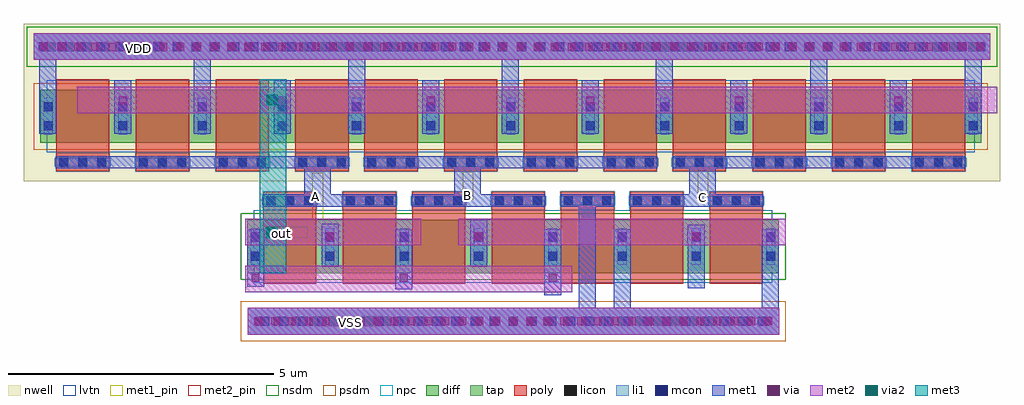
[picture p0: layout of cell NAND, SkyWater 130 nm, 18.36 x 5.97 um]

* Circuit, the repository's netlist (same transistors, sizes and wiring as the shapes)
** sch_path: /foss/designs/BGR_NSL_FTK/NAND.sch
.subckt NAND vdd vss A C B out
*.iopin vdd
*.iopin vss
*.ipin A
*.ipin C
*.ipin B
*.opin out
XM6 out A net1 vss sky130_fd_pr__nfet_01v8_lvt L=1 W=2 nf=2 ad=0.29 as=0.58 pd=2.58 ps=5.16 nrd=0.145 nrs=0.145 sa=0 sb=0 sd=0
+ mult=1
XM1 out B vdd vdd sky130_fd_pr__pfet_01v8_lvt L=1 W=4 nf=4 ad=0.58 as=0.87 pd=5.16 ps=7.74 nrd=0.0725 nrs=0.0725 sa=0 sb=0 sd=0
+ mult=1
XM2 out A vdd vdd sky130_fd_pr__pfet_01v8_lvt L=1 W=4 nf=4 ad=0.58 as=0.87 pd=5.16 ps=7.74 nrd=0.0725 nrs=0.0725 sa=0 sb=0 sd=0
+ mult=1
XM3 net1 B net2 vss sky130_fd_pr__nfet_01v8_lvt L=1 W=2 nf=2 ad=0.29 as=0.58 pd=2.58 ps=5.16 nrd=0.145 nrs=0.145 sa=0 sb=0 sd=0
+ mult=1
XM4 out C vdd vdd sky130_fd_pr__pfet_01v8_lvt L=1 W=4 nf=4 ad=0.58 as=0.87 pd=5.16 ps=7.74 nrd=0.0725 nrs=0.0725 sa=0 sb=0 sd=0
+ mult=1
XM5 net2 C vss vss sky130_fd_pr__nfet_01v8_lvt L=1 W=2 nf=2 ad=0.29 as=0.58 pd=2.58 ps=5.16 nrd=0.145 nrs=0.145 sa=0 sb=0 sd=0
+ mult=1
XM7 net1 vss vss vss sky130_fd_pr__nfet_01v8_lvt L=1 W=1 nf=1 ad=0.29 as=0.29 pd=2.58 ps=2.58 nrd=0.29 nrs=0.29 sa=0 sb=0 sd=0
+ mult=1
.ends
.end

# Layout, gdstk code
import gdstk
lib = gdstk.Library(unit=1e-6, precision=5e-09)
def R(c, l, rs):  # rectangles x0, y0, x1, y1
    for r in rs: c.add(gdstk.rectangle(r[:2], r[2:], *l))
def A(c, l, x, y, w, h, nx, ny, dx, dy):  # array of equal rectangles
    R(c, l, [(x+i*dx, y+j*dy, x+i*dx+w, y+j*dy+h) for i in range(nx) for j in range(ny)])
nwell = (64, 20)
diff = (65, 20)
tap = (65, 44)
poly = (66, 20)
licon = (66, 44)
li1 = (67, 20)
mcon = (67, 44)
met1_pin = (68, 16)
met1 = (68, 20)
via = (68, 44)
met2_pin = (69, 16)
met2 = (69, 20)
via2 = (69, 44)
met3 = (70, 20)
nsdm = (93, 44)
psdm = (94, 20)
npc = (95, 20)
lvtn = (125, 44)

pfet = lib.new_cell('pfet')
R(pfet, nwell, [(-0.305,-0.72,6.405,1.38)])
R(pfet, diff, [(0,0,6.1,1)])
A(pfet, poly, 0.3, -0.53, 1, 0.33, 4, 1, 1.5, 0)
A(pfet, poly, 0.3, -0.2, 1, 1.4, 4, 1, 1.5, 0)
A(pfet, licon, 0.355, -0.45, 0.17, 0.17, 3, 1, 0.36, 0)
A(pfet, licon, 1.855, -0.45, 0.17, 0.17, 3, 1, 0.36, 0)
A(pfet, licon, 3.355, -0.45, 0.17, 0.17, 3, 1, 0.36, 0)
A(pfet, licon, 4.855, -0.45, 0.17, 0.17, 3, 1, 0.36, 0)
A(pfet, licon, 1.465, 0.235, 0.17, 0.17, 3, 2, 1.5, 0.36)
R(pfet, licon, [(0.065,0.235,0.235,0.405), (5.865,0.235,6.035,0.405), (0.065,0.595,0.235,0.765), (5.865,0.595,6.035,0.765)])
A(pfet, li1, 0.275, -0.45, 1.05, 0.17, 4, 1, 1.5, 0)
A(pfet, li1, 1.465, 0.155, 0.17, 0.69, 3, 1, 1.5, 0)
R(pfet, li1, [(0.065,0.155,0.235,0.845), (5.865,0.155,6.035,0.845)])
A(pfet, mcon, 0.355, -0.45, 0.17, 0.17, 3, 1, 0.36, 0)
A(pfet, mcon, 1.855, -0.45, 0.17, 0.17, 3, 1, 0.36, 0)
A(pfet, mcon, 3.355, -0.45, 0.17, 0.17, 3, 1, 0.36, 0)
A(pfet, mcon, 4.855, -0.45, 0.17, 0.17, 3, 1, 0.36, 0)
A(pfet, mcon, 1.465, 0.235, 0.17, 0.17, 3, 2, 1.5, 0.36)
R(pfet, mcon, [(0.065,0.235,0.235,0.405), (5.865,0.235,6.035,0.405), (0.065,0.595,0.235,0.765), (5.865,0.595,6.035,0.765)])
A(pfet, met1, 0.295, -0.48, 1.01, 0.23, 4, 1, 1.5, 0)
A(pfet, met1, 1.435, 0.175, 0.23, 0.65, 3, 1, 1.5, 0)
R(pfet, met1, [(0.035,0.175,0.265,0.825), (5.835,0.175,6.065,0.825)])
R(pfet, psdm, [(-0.125,-0.125,6.225,1.125)])
A(pfet, npc, 0.29, -0.54, 1.02, 0.35, 4, 1, 1.5, 0)
R(pfet, lvtn, [(0.12,-0.18,5.98,1.18)])

vias_gen = lib.new_cell('vias_gen')
R(vias_gen, nwell, [(-0.18,-0.18,18.18,0.68)])
R(vias_gen, tap, [(0,0,18,0.5)])
A(vias_gen, licon, 0.245, 0.165, 0.17, 0.17, 52, 1, 0.34, 0)
R(vias_gen, li1, [(0,0,18,0.5)])
A(vias_gen, mcon, 0.095, 0.165, 0.17, 0.17, 50, 1, 0.36, 0)
R(vias_gen, met1, [(0,0,18,0.5)])
A(vias_gen, via, 0.125, 0.175, 0.15, 0.15, 56, 1, 0.32, 0)
R(vias_gen, met2, [(0,0,18,0.5)])
R(vias_gen, nsdm, [(-0.125,-0.125,18.125,0.625)])

nfet_1 = lib.new_cell('nfet$1')
R(nfet_1, diff, [(0,0,1.6,1)])
R(nfet_1, poly, [(0.3,-0.2,1.3,1.2), (0.3,1.2,1.3,1.53)])
A(nfet_1, licon, 0.355, 1.28, 0.17, 0.17, 3, 1, 0.36, 0)
R(nfet_1, licon, [(0.065,0.235,0.235,0.405), (1.365,0.235,1.535,0.405), (0.065,0.595,0.235,0.765), (1.365,0.595,1.535,0.765)])
R(nfet_1, li1, [(0.065,0.155,0.235,0.845), (1.365,0.155,1.535,0.845), (0.275,1.28,1.325,1.45)])
A(nfet_1, mcon, 0.355, 1.28, 0.17, 0.17, 3, 1, 0.36, 0)
R(nfet_1, mcon, [(0.065,0.235,0.235,0.405), (1.365,0.235,1.535,0.405), (0.065,0.595,0.235,0.765), (1.365,0.595,1.535,0.765)])
R(nfet_1, met1, [(0.035,0.175,0.265,0.825), (1.335,0.175,1.565,0.825), (0.295,1.25,1.305,1.48)])
R(nfet_1, nsdm, [(-0.125,-0.125,1.725,1.125)])
R(nfet_1, npc, [(0.29,1.19,1.31,1.54)])
R(nfet_1, lvtn, [(0.12,-0.18,1.48,1.18)])

nfet = lib.new_cell('nfet')
R(nfet, diff, [(0,0,3.1,1)])
R(nfet, poly, [(0.3,-0.2,1.3,1.2), (1.8,-0.2,2.8,1.2), (0.3,1.2,1.3,1.53), (1.8,1.2,2.8,1.53)])
A(nfet, licon, 0.065, 0.235, 0.17, 0.17, 3, 2, 1.4, 0.36)
A(nfet, licon, 0.355, 1.28, 0.17, 0.17, 3, 1, 0.36, 0)
A(nfet, licon, 1.855, 1.28, 0.17, 0.17, 3, 1, 0.36, 0)
A(nfet, li1, 0.065, 0.155, 0.17, 0.69, 3, 1, 1.4, 0)
R(nfet, li1, [(0.275,1.28,1.325,1.45), (1.775,1.28,2.825,1.45)])
A(nfet, mcon, 0.065, 0.235, 0.17, 0.17, 3, 2, 1.4, 0.36)
A(nfet, mcon, 0.355, 1.28, 0.17, 0.17, 3, 1, 0.36, 0)
A(nfet, mcon, 1.855, 1.28, 0.17, 0.17, 3, 1, 0.36, 0)
A(nfet, met1, 0.035, 0.175, 0.23, 0.65, 3, 1, 1.4, 0)
R(nfet, met1, [(0.295,1.25,1.305,1.48), (1.795,1.25,2.805,1.48)])
R(nfet, nsdm, [(-0.125,-0.125,3.225,1.125)])
R(nfet, npc, [(0.29,1.19,1.31,1.54), (1.79,1.19,2.81,1.54)])
R(nfet, lvtn, [(0.12,-0.18,2.98,1.18)])

vias_gen_1 = lib.new_cell('vias_gen$1')
R(vias_gen_1, tap, [(0,0,10,0.5)])
A(vias_gen_1, licon, 0.155, 0.165, 0.17, 0.17, 29, 1, 0.34, 0)
R(vias_gen_1, li1, [(0,0,10,0.5)])
A(vias_gen_1, mcon, 0.235, 0.165, 0.17, 0.17, 27, 1, 0.36, 0)
R(vias_gen_1, met1, [(0,0,10,0.5)])
A(vias_gen_1, via, 0.125, 0.175, 0.15, 0.15, 31, 1, 0.32, 0)
R(vias_gen_1, met2, [(0,0,10,0.5)])
R(vias_gen_1, psdm, [(-0.125,-0.125,10.125,0.625)])

vias_gen_2 = lib.new_cell('vias_gen$2')
R(vias_gen_2, met1, [(0,0,0.32,0.26)])
R(vias_gen_2, via, [(0.085,0.055,0.235,0.205)])
R(vias_gen_2, met2, [(0,0,0.32,0.26)])

vias_gen_4 = lib.new_cell('vias_gen$4')
R(vias_gen_4, met2, [(0,0,0.37,0.33)])
R(vias_gen_4, via2, [(0.085,0.065,0.285,0.265)])
R(vias_gen_4, met3, [(0,0,0.37,0.33)])

nand = lib.new_cell('NAND')
R(nand, nwell, [(18.31,3.01,18.36,5.14)])
nand.add(gdstk.FlexPath([(4.16,1.17),(10.31,1.17)], 0.5, ends="flush", simple_path=True, layer=69, datatype=20))  # met2
nand.add(gdstk.FlexPath([(4.16,2.05),(7.47,2.05)], 0.5, ends="flush", simple_path=True, layer=69, datatype=20))  # met2
nand.add(gdstk.FlexPath([(8.17,2.05),(14.325,2.05)], 0.5, ends="flush", simple_path=True, layer=69, datatype=20))  # met2
nand.add(gdstk.FlexPath([(1.005,4.54),(18.31,4.54)], 0.5, ends="flush", simple_path=True, layer=69, datatype=20))  # met2
nand.add(gdstk.FlexPath([(4.685,1.28),(4.685,4.93)], 0.5, ends="flush", simple_path=True, layer=70, datatype=20))  # met3
nand.add(gdstk.FlexPath([(4.855,3.905),(4.855,4.91)], 0.32, ends="flush", simple_path=True, layer=68, datatype=20))  # met1
nand.add(gdstk.FlexPath([(6.255,3.905),(6.255,5.76)], 0.32, ends="flush", simple_path=True, layer=68, datatype=20))  # met1
nand.add(gdstk.FlexPath([(3.355,3.905),(3.355,5.76)], 0.32, ends="flush", simple_path=True, layer=68, datatype=20))  # met1
nand.add(gdstk.FlexPath([(0.445,3.905),(0.445,5.76)], 0.32, ends="flush", simple_path=True, layer=68, datatype=20))  # met1
nand.add(gdstk.FlexPath([(9.145,3.905),(9.145,5.76)], 0.32, ends="flush", simple_path=True, layer=68, datatype=20))  # met1
nand.add(gdstk.FlexPath([(12.045,3.9),(12.045,5.755)], 0.32, ends="flush", simple_path=True, layer=68, datatype=20))  # met1
nand.add(gdstk.FlexPath([(14.955,3.9),(14.955,5.755)], 0.32, ends="flush", simple_path=True, layer=68, datatype=20))  # met1
nand.add(gdstk.FlexPath([(17.855,3.9),(17.855,5.755)], 0.32, ends="flush", simple_path=True, layer=68, datatype=20))  # met1
nand.add(gdstk.FlexPath([(1.855,3.905),(1.855,4.91)], 0.32, ends="flush", simple_path=True, layer=68, datatype=20))  # met1
nand.add(gdstk.FlexPath([(7.655,3.905),(7.655,4.91)], 0.32, ends="flush", simple_path=True, layer=68, datatype=20))  # met1
nand.add(gdstk.FlexPath([(10.655,3.905),(10.655,4.91)], 0.32, ends="flush", simple_path=True, layer=68, datatype=20))  # met1
nand.add(gdstk.FlexPath([(13.445,3.905),(13.445,4.91)], 0.32, ends="flush", simple_path=True, layer=68, datatype=20))  # met1
nand.add(gdstk.FlexPath([(16.445,3.905),(16.445,4.91)], 0.32, ends="flush", simple_path=True, layer=68, datatype=20))  # met1
nand.add(gdstk.FlexPath([(1.525,3.365),(2.33,3.365)], 0.23, ends="flush", simple_path=True, layer=68, datatype=20))  # met1
nand.add(gdstk.FlexPath([(2.925,3.365),(3.73,3.365)], 0.23, ends="flush", simple_path=True, layer=68, datatype=20))  # met1
nand.add(gdstk.FlexPath([(4.445,3.365),(5.25,3.365)], 0.23, ends="flush", simple_path=True, layer=68, datatype=20))  # met1
nand.add(gdstk.FlexPath([(7.29,3.365),(8.095,3.365)], 0.23, ends="flush", simple_path=True, layer=68, datatype=20))  # met1
nand.add(gdstk.FlexPath([(8.69,3.365),(9.495,3.365)], 0.23, ends="flush", simple_path=True, layer=68, datatype=20))  # met1
nand.add(gdstk.FlexPath([(10.21,3.365),(11.015,3.365)], 0.23, ends="flush", simple_path=True, layer=68, datatype=20))  # met1
nand.add(gdstk.FlexPath([(13.15,3.365),(13.955,3.365)], 0.23, ends="flush", simple_path=True, layer=68, datatype=20))  # met1
nand.add(gdstk.FlexPath([(14.55,3.365),(15.355,3.365)], 0.23, ends="flush", simple_path=True, layer=68, datatype=20))  # met1
nand.add(gdstk.FlexPath([(16.07,3.365),(16.875,3.365)], 0.23, ends="flush", simple_path=True, layer=68, datatype=20))  # met1
nand.add(gdstk.FlexPath([(10.595,0.52),(10.595,2.76)], 0.32, ends="flush", simple_path=True, layer=68, datatype=20))  # met1
nand.add(gdstk.FlexPath([(5.435,2.645),(6.24,2.645)], 0.23, ends="flush", simple_path=True, layer=68, datatype=20))  # met1
nand.add(gdstk.FlexPath([(8.21,2.645),(9.015,2.645)], 0.23, ends="flush", simple_path=True, layer=68, datatype=20))  # met1
nand.add(gdstk.FlexPath([(12.3,2.645),(13.105,2.645)], 0.23, ends="flush", simple_path=True, layer=68, datatype=20))  # met1
nand.add(gdstk.FlexPath([(12.645,1),(12.645,2.19)], 0.32, ends="flush", simple_path=True, layer=68, datatype=20))  # met1
nand.add(gdstk.FlexPath([(9.95,2.105),(9.95,0.86)], 0.32, ends="flush", simple_path=True, layer=68, datatype=20))  # met1
nand.add(gdstk.FlexPath([(8.55,1.4),(8.55,2.28)], 0.32, ends="flush", simple_path=True, layer=68, datatype=20))  # met1
nand.add(gdstk.FlexPath([(7.145,2.105),(7.145,0.98)], 0.32, ends="flush", simple_path=True, layer=68, datatype=20))  # met1
nand.add(gdstk.FlexPath([(4.355,2.105),(4.355,1.02)], 0.32, ends="flush", simple_path=True, layer=68, datatype=20))  # met1
nand.add(gdstk.FlexPath([(11.25,2.105),(11.25,0.17)], 0.32, ends="flush", simple_path=True, layer=68, datatype=20))  # met1
nand.add(gdstk.FlexPath([(14.04,0.255),(14.04,2.105)], 0.32, ends="flush", simple_path=True, layer=68, datatype=20))  # met1
nand.add(gdstk.FlexPath([(5.76,1.4),(5.76,2.21)], 0.32, ends="flush", simple_path=True, layer=68, datatype=20))  # met1
nand.add(gdstk.FlexPath([(5.525,2.53),(5.525,3.45)], 0.5, ends="flush", simple_path=True, layer=68, datatype=20))  # met1
nand.add(gdstk.FlexPath([(8.345,2.54),(8.345,3.45)], 0.5, ends="flush", simple_path=True, layer=68, datatype=20))  # met1
nand.add(gdstk.FlexPath([(12.765,2.57),(12.765,3.45)], 0.5, ends="flush", simple_path=True, layer=68, datatype=20))  # met1
nand.add(gdstk.FlexPath([(8.35,3.19),(8.35,2.66)], 0.2, ends="flush", simple_path=True, layer=68, datatype=16))  # met1_pin
nand.add(gdstk.FlexPath([(12.77,3.22),(12.77,2.72)], 0.2, ends="flush", simple_path=True, layer=68, datatype=16))  # met1_pin
nand.add(gdstk.FlexPath([(1.525,5.54),(2.865,5.54)], 0.2, ends="flush", simple_path=True, layer=68, datatype=16))  # met1_pin
nand.add(gdstk.FlexPath([(5.52,0.375),(6.77,0.375)], 0.2, ends="flush", simple_path=True, layer=68, datatype=16))  # met1_pin
nand.add(gdstk.FlexPath([(5.525,3.17),(5.525,2.29),(5.525,2.29)], 0.2, ends="flush", simple_path=True, layer=68, datatype=16))  # met1_pin
nand.add(gdstk.FlexPath([(4.5,2.05),(5.335,2.05)], 0.2, ends="flush", simple_path=True, layer=69, datatype=16))  # met2_pin
nand.add(gdstk.Reference(pfet, (0.305,3.73)))
nand.add(gdstk.Reference(pfet, (6.105,3.73)))
nand.add(gdstk.Reference(pfet, (11.905,3.73)))
nand.add(gdstk.Reference(vias_gen, (0.18,5.29)))
nand.add(gdstk.Reference(nfet_1, (9.8,1.28)))
nand.add(gdstk.Reference(nfet, (11.1,1.28)))
nand.add(gdstk.Reference(nfet, (7,1.28)))
nand.add(gdstk.Reference(nfet, (4.2,1.28)))
nand.add(gdstk.Reference(vias_gen_1, (4.205,0.125)))
nand.add(gdstk.Reference(vias_gen_2, (4.195,1.06)))
nand.add(gdstk.Reference(vias_gen_2, (6.985,1.06)))
nand.add(gdstk.Reference(vias_gen_2, (5.6,1.84)))
nand.add(gdstk.Reference(vias_gen_2, (9.79,1.06)))
nand.add(gdstk.Reference(vias_gen_2, (8.39,1.84)))
nand.add(gdstk.Reference(vias_gen_2, (12.48,1.84)))
nand.add(gdstk.Reference(vias_gen_2, (1.695,4.4)))
nand.add(gdstk.Reference(vias_gen_2, (4.695,4.4)))
nand.add(gdstk.Reference(vias_gen_2, (7.495,4.4)))
nand.add(gdstk.Reference(vias_gen_2, (10.495,4.4)))
nand.add(gdstk.Reference(vias_gen_2, (13.285,4.4)))
nand.add(gdstk.Reference(vias_gen_2, (16.285,4.4)))
nand.add(gdstk.Reference(vias_gen_4, (4.485,4.37)))
nand.add(gdstk.Reference(vias_gen_4, (4.475,1.88)))
nand.add(gdstk.Label('B', (8.35,2.735), layer=68, texttype=16))
nand.add(gdstk.Label('C', (12.77,2.71), layer=68, texttype=16))
nand.add(gdstk.Label('VDD', (2.155,5.51), layer=68, texttype=16))
nand.add(gdstk.Label('VSS', (6.14,0.36), layer=68, texttype=16))
nand.add(gdstk.Label('A', (5.475,2.73), layer=68, texttype=16))
nand.add(gdstk.Label('out', (4.84,2.03), layer=69, texttype=16))

lib.write_gds('NAND.gds')
